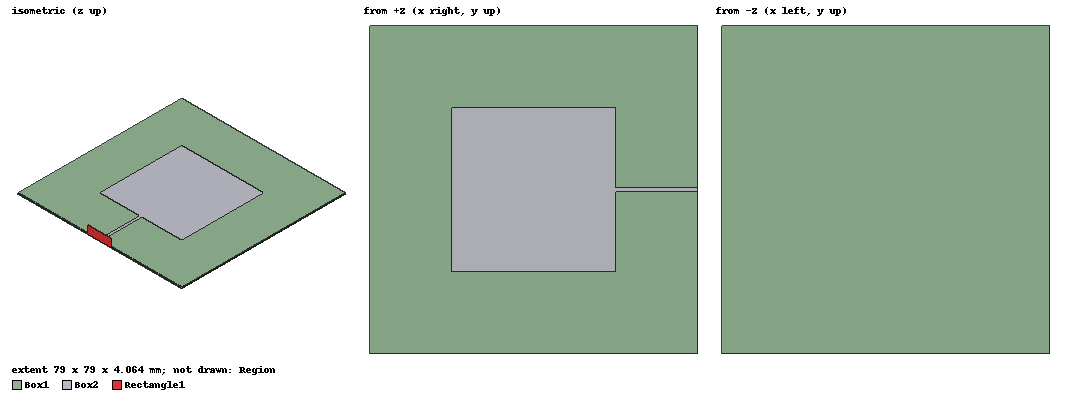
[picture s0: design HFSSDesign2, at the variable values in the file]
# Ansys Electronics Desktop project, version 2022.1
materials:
  vacuum: permittivity=1
  pec: conductivity=1e+30
  Rogers RO4003 (tm): permittivity=3.55 dielectric_loss_tangent=0.0027

design HFSSDesign2 (HFSS, DrivenModal, model units mm)
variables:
  lambda = 0.15meter
  W3 = 0.0395meter
  H_sub = 20mil
  T = 18um
  W1 = 43.870866mil
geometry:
  Box1 [Rogers RO4003 (tm)] = box(corner=(0mm, 0mm, 0mm), size=(2*W3, 2*W3, H_sub))
  Box2 [pec] = box(corner=(W3/2, W3/2, H_sub), size=(W3, W3, T))
  Box3 = box(corner=(1.5*W3, 0.5*W3+0.5*(W3-W1), H_sub), size=(W3/2, W1, T))
  Box2.unite(Box3)
  Rectangle1 = rectangle(corner=(1.5*W3+W3/2, 0.5*W3+0.5*(W3-W1)-5*W1+W1/2, 0), y_size=10*W1, z_size=8*H_sub)
  Region [vacuum] = region(absolute_offset=lambda/4 on all sides)
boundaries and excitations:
  PerfE1: Perfect E Faces=Box1.face(-z)
  Rad1: Radiation Faces=Region.face(all 6)
  1: Lumped Port Objects=Rectangle1 Modes{Mode1{IntLine{(79, 39.5, 0) -> (79, 39.5, 0.508)} CharImp=Zpi RenormImp=50ohm}} Impedance=50ohm
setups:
  Setup1: HfssDriven Frequency=2GHz MaxDeltaS=0.005 MaximumPasses=90 MinimumPasses=5 MinimumConvergedPasses=2 PercentRefinement=10 BasisOrder=1 PortAccuracy=2 DrivenSolverType="Direct Solver"
    sweep Sweep: 1GHz to 3GHz step 0.005GHz; Type=Fast SaveFields
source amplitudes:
  1:1: 1W 0deg
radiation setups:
  Infinite Sphere1: Infinite Sphere Theta=0deg..180deg step 1deg Phi=0deg..360deg step 1deg
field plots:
  Mag_E1, Vector_E1: E Field over Box1.face(-z) on Setup1 : LastAdaptive at Freq=2GHz Phase=0deg
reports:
  S Parameter Plot 1: dB(S(1,1)) vs Freq on Setup1 : Sweep; markers m1 at 2GHz
  Realized Gain Plot 1: dB(RealizedGainTotal) vs Phi, Theta on Setup1 : LastAdaptive, Infinite Sphere1 [Freq=2GHz]
  Realized Gain Plot 2: dB(RealizedGainTotal) vs Phi, Theta on Setup1 : LastAdaptive, Infinite Sphere1 [Freq=2GHz]
  Realized Gain Plot 3: dB(RealizedGainTotal) vs Theta on Setup1 : LastAdaptive, Infinite Sphere1 [Phi=0deg,90deg Freq=2GHz]
  Realized Gain Plot 3_1: dB(RealizedGainTotal) vs Theta
  Axial Ratio Plot 1: mag(AxialRatioValue) vs Phi on Setup1 : LastAdaptive, Infinite Sphere1 [Theta=0deg Freq=2GHz]
